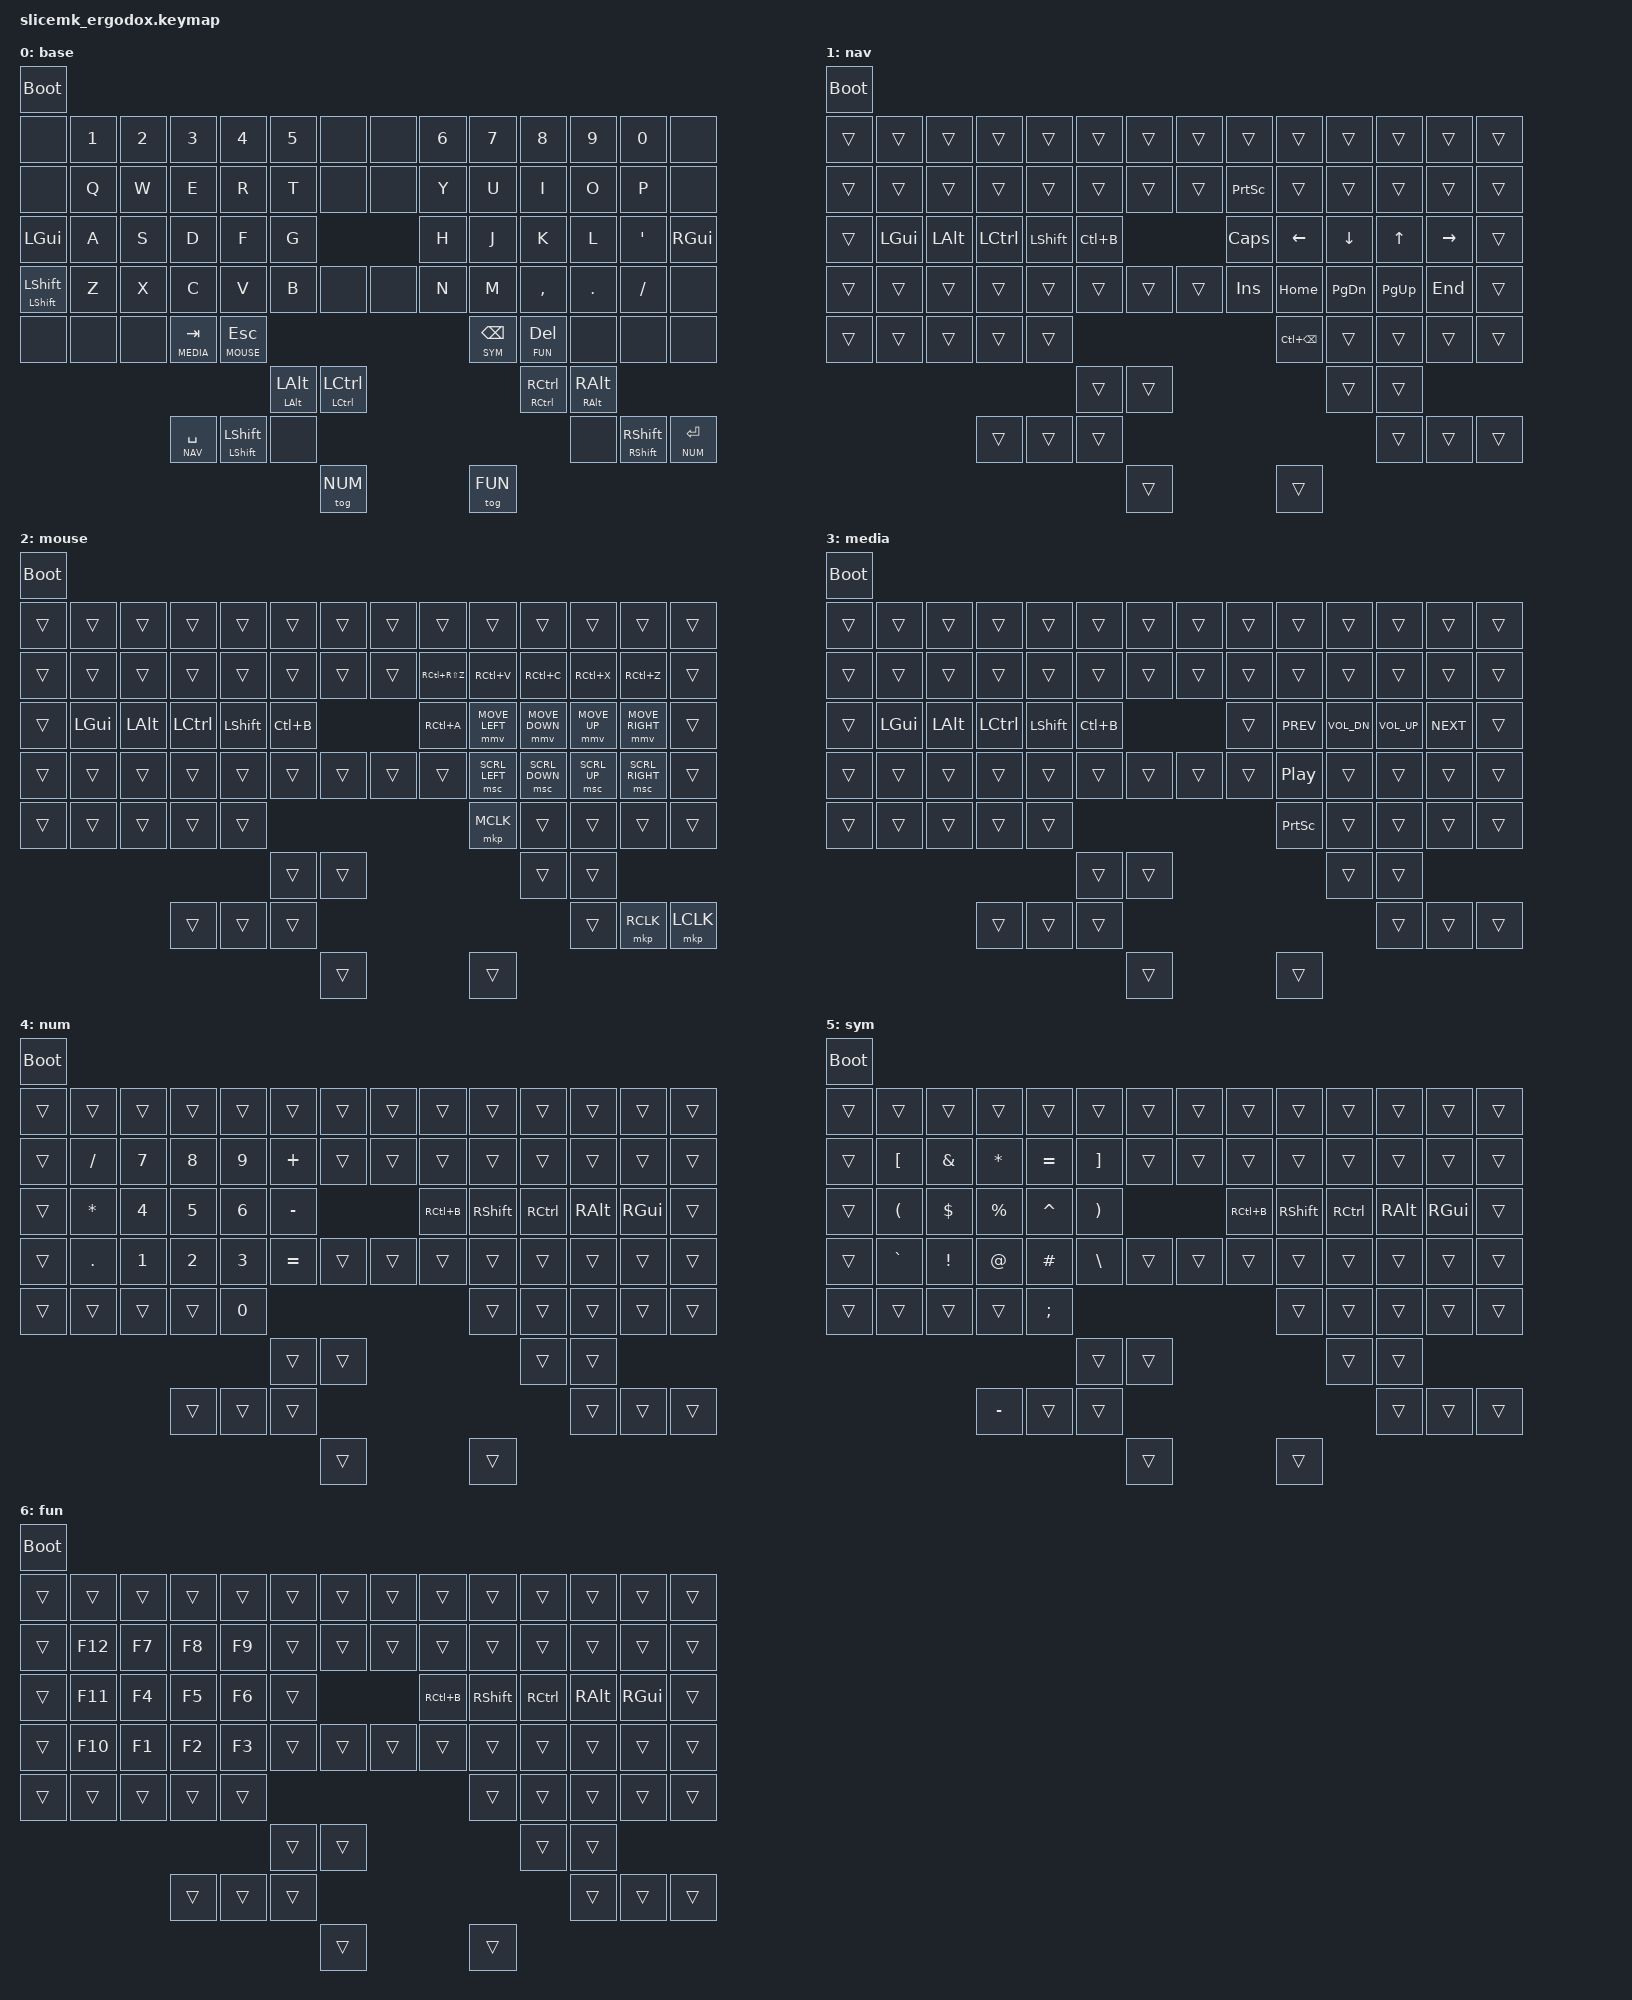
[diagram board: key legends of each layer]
#define ZMK_MOUSE_DEFAULT_MOVE_VAL 1700
#define BASE 0
#define NAV 1
#define MOUSE 2
#define MEDIA 3
#define NUM 4
#define SYM 5
#define FUN 6

#include <behaviors.dtsi>
#include <dt-bindings/zmk/bt.h>
#include <dt-bindings/zmk/keys.h>
#include <dt-bindings/zmk/mouse.h>
#include <dt-bindings/zmk/outputs.h>
#include <dt-bindings/zmk/rgb.h>

/ {
    combos {
        compatible = "zmk,combos";

        // Left Side Combos
        /* combo_left_shift { */
        /*     timeout-ms = <30>; */
        /* key-positions = <32 31>; // D + S */
        /*     bindings = <&kp LSHFT>; */
        /*     layers = <0>; */
        /* };  */
        combo_left_ctrl {
            timeout-ms = <30>;
            key-positions = <33 32>; // F + D
            bindings = <&kp LCTRL>;
            layers = <0>;
        };
        /* combo_left_gui { */
        /*     timeout-ms = <30>; */
        /*     key-positions = <33 31>; // A + F */
        /*     bindings = <&kp LGUI>; */
        /*     layers = <0>; */
        /* }; */
        combo_left_alt {
            timeout-ms = <30>;
            key-positions = <31 32>; // S + D
            bindings = <&kp LALT>;
            layers = <0>;
        }; 
        combo_left_enter {
            timeout-ms = <30>;
            key-positions = <34 33>; // G + F
            bindings = <&kp RETURN>;
            layers = <0>;
        };

        // Right Side Combos
        /* combo_right_shift { */
        /*     timeout-ms = <30>; */
        /*     key-positions = <37 38>; // K + L */
        /*     bindings = <&kp RSHFT>; */
        /*     layers = <0>; */
        /* }; */
        combo_right_ctrl {
            timeout-ms = <30>;
            key-positions = <36 37>; // J + K
            bindings = <&kp RCTRL>;
            layers = <0>;
        };
        /* combo_right_gui { */
        /*     timeout-ms = <30>; */
        /*     key-positions = <36 38>; // J + L */
        /*     bindings = <&kp RGUI>; */
        /*     layers = <0>; */
        /* }; */
        combo_right_alt {
            timeout-ms = <30>;
            key-positions = <37 38>; // K + L
            bindings = <&kp RALT>;
            layers = <0>;
        };
    };

    behaviors {
        fht: fast_hold_tap {
            compatible = "zmk,behavior-hold-tap";
            #binding-cells = <2>;
            tapping-term-ms = <180>;
            quick-tap-ms = <0>;
            flavor = "balanced";
            bindings = <&kp>, <&kp>;
            hold-trigger-on-release;
        };
        /* mht: medium_hold_tap { */
        /*     compatible = "zmk,behavior-hold-tap"; */
        /*     #binding-cells = <2>; */
        /*     tapping-term-ms = <200>; */
        /*     quick-tap-ms = <0>; */
        /*     flavor = "balanced"; */
        /*     bindings = <&kp>, <&kp>; */
        /*     hold-trigger-on-release; */
        /* }; */
        slht: slow_hold_tap {
            compatible = "zmk,behavior-hold-tap";
            #binding-cells = <2>;
            tapping-term-ms = <300>;
            quick-tap-ms = <0>;
            flavor = "balanced";
            bindings = <&kp>, <&kp>;
        };
        sht: sticky_hold_tap {
            compatible = "zmk,behavior-hold-tap";
            #binding-cells = <2>;
            tapping-term-ms = <200>;
            quick-tap-ms = <0>;
            flavor = "tap-preferred";
            bindings = <&kp>, <&sk>;
        };
        lmd: layer_modifier {
            compatible = "zmk,behavior-hold-tap";
            #binding-cells = <2>;
            tapping-term-ms = <180>;
            flavor = "balanced";
            bindings = <&mo>, <&kp>;
        };
        /* shifted: macro_shifted_kp { */
        /*     #binding-cells = <1>; */
        /*     label = "MACRO_SHIFTED_KP"; */
        /*     compatible = "zmk,behavior-macro-one-param"; */
        /*     bindings = */
        /*         <&macro_press &kp LSHFT>, */
        /*         <&macro_param_1to1 &macro_tap &kp MACRO_PLACEHOLDER>, */
        /*         <&macro_release &kp LSHFT>; */
        /* }; */
        /**/
        /* as_ht: autoshift_hold_tap { */
        /*     compatible = "zmk,behavior-hold-tap"; */
        /*     label = "AUTOSHIFT_HOLD_TAP"; */
        /*     #binding-cells = <2>; */
        /*     tapping-term-ms = <150>; */
        /*     flavor = "tap-preferred"; */
        /*     bindings = <&shifted>, <&kp>; */
        /* }; */
        /**/
        /* as: autoshift { */
        /*     compatible = "zmk,behavior-macro-one-param"; */
        /*     #binding-cells = <1>; */
        /*     label = "AUTOSHIFT_KP"; */
        /*     bindings = */
        /*         <&macro_press>, */
        /*         <&macro_param_1to1>, */
        /*         <&macro_param_1to2>, */
        /*         <&as_ht MACRO_PLACEHOLDER MACRO_PLACEHOLDER>, */
        /*         <&macro_pause_for_release>, */
        /*         <&macro_release>, */
        /*         <&macro_param_1to1>, */
        /*         <&macro_param_1to2>, */
        /*         <&as_ht MACRO_PLACEHOLDER MACRO_PLACEHOLDER>; */
        /* }; */
    };

	keymap {
		compatible = "zmk,keymap";
		base {
			bindings = <
				&bootloader
				&none     &kp N1 &kp N2 &kp N3          &kp N4          &kp N5 &none      &none  &kp N6 &kp N7         &kp N8        &kp N9      &kp N0     &none
				&none     &kp Q  &kp W  &kp E           &kp R           &kp T  &none      &none  &kp Y  &kp U          &kp I         &kp O       &kp P      &none
				&kp LGUI  &kp A  &kp S  &kp D           &kp F           &kp G                    &kp H  &kp J          &kp K         &kp L       &kp APOS   &kp RGUI
				&sht LSHFT LSHFT  &kp Z  &kp X  &kp C           &kp V           &kp B  &none      &none  &kp N  &kp M          &kp COMMA     &kp PERIOD  &kp SLASH  &none
				&none     &none  &none  &lmd MEDIA TAB  &lmd MOUSE ESC                                  &lmd SYM BSPC  &lmd FUN DEL  &none       &none      &none
				
                                                                  &sht LALT LALT &sht LCTRL LCTRL              &sht RCTRL RCTRL  &sht RALT RALT
                                                &lmd NAV SPACE  &sht LSHFT LSHFT        &none                         &none             &sht RSHFT RSHFT         &lmd NUM RETURN
                                                                                 &tog NUM                      &tog FUN
			>;
		};

		nav {
			bindings = <
                &bootloader
                &trans  &trans        &trans        &trans            &trans          &trans  &trans       &trans  &trans      &trans       &trans       &trans     &trans      &trans
                &trans  &trans        &trans        &trans            &trans          &trans  &trans       &trans  &kp PSCRN      &trans       &trans       &trans     &trans  &trans
                &trans  &kp LGUI      &kp LALT      &kp LCTRL         &kp LSHFT       &kp LC(B)                    &kp CAPS    &kp LEFT     &kp DOWN     &kp UP     &kp RIGHT   &trans
                &trans  &trans        &trans        &trans            &trans          &trans  &trans       &trans  &kp INSERT  &kp HOME     &kp PG_DN    &kp PG_UP  &kp END     &trans
                &trans  &trans        &trans        &trans            &trans                                                   &kp LC(BSPC)      &trans       &trans     &trans      &trans

                                                        &trans  &trans       &trans  &trans
                                                &trans  &trans  &trans       &trans  &trans  &trans
                                                                &trans       &trans
			>;
		};

		mouse {
			bindings = <
                &bootloader
                &trans  &trans        &trans        &trans            &trans          &trans  &trans       &trans  &trans      &trans          &trans          &trans        &trans           &trans
                &trans  &trans        &trans        &trans            &trans          &trans  &trans       &trans  &kp RC(RS(Z))  &kp RC(V)     &kp RC(C)      &kp RC(X)     &kp RC(Z)       &trans
                &trans  &kp LGUI      &kp LALT      &kp LCTRL         &kp LSHFT       &kp LC(B)                       &kp RC(A)      &mmv MOVE_LEFT  &mmv MOVE_DOWN  &mmv MOVE_UP  &mmv MOVE_RIGHT  &trans
                &trans  &trans        &trans        &trans            &trans          &trans  &trans       &trans  &trans      &msc SCRL_LEFT  &msc SCRL_DOWN  &msc SCRL_UP  &msc SCRL_RIGHT  &trans
                &trans  &trans        &trans        &trans            &trans                                                   &mkp MCLK       &trans          &trans        &trans           &trans

                                                        &trans  &trans       &trans  &trans
                                                &trans  &trans  &trans       &trans  &mkp RCLK  &mkp LCLK
                                                                &trans       &trans
			>;
		};

		media {
			bindings = <
                &bootloader
                &trans  &trans        &trans        &trans            &trans          &trans  &trans       &trans  &trans  &trans      &trans          &trans        &trans      &trans
                &trans  &trans        &trans        &trans            &trans          &trans  &trans       &trans  &trans  &trans      &trans          &trans        &trans      &trans
                &trans  &kp LGUI      &kp LALT      &kp LCTRL         &kp LSHFT       &kp LC(B)                       &trans  &kp C_PREV  &kp C_VOL_DN    &kp C_VOL_UP  &kp C_NEXT  &trans
                &trans  &trans        &trans        &trans            &trans          &trans  &trans       &trans  &trans  &kp C_PP    &trans          &trans        &trans      &trans
                &trans  &trans        &trans        &trans            &trans                                               &kp PSCRN      &trans          &trans        &trans      &trans

                                                        &trans  &trans       &trans  &trans
                                                &trans  &trans  &trans       &trans  &trans  &trans
                                                                &trans       &trans
			>;
		};

		num {
			bindings = <
                &bootloader
                &trans  &trans     &trans  &trans  &trans  &trans    &trans       &trans  &trans  &trans     &trans     &trans    &trans   &trans
                &trans  &kp SLASH  &kp N7  &kp N8  &kp N9  &kp PLUS  &trans       &trans  &trans  &trans     &trans     &trans    &trans   &trans
                &trans  &kp STAR   &kp N4  &kp N5  &kp N6  &kp MINUS                      &kp RC(B)  &kp RSHFT  &kp RCTRL  &kp RALT  &kp RGUI &trans
                &trans  &kp DOT    &kp N1  &kp N2  &kp N3  &kp EQUAL &trans       &trans  &trans  &trans     &trans     &trans    &trans   &trans
                &trans  &trans     &trans  &trans  &kp N0                                         &trans     &trans     &trans    &trans   &trans

                                                           &trans   &trans       &trans  &trans
                                                &trans  &trans  &trans       &trans  &trans  &trans
                                                                    &trans       &trans
			>;
		};

		sym {
			bindings = <
                &bootloader
                &trans  &trans     &trans    &trans     &trans     &trans    &trans       &trans  &trans  &trans     &trans     &trans    &trans   &trans 
                &trans  &kp LBKT   &kp AMPS  &kp STAR   &kp EQUAL  &kp RBKT  &trans       &trans  &trans  &trans     &trans     &trans    &trans   &trans 
                &trans  &kp LPAR   &kp DLLR  &kp PRCNT  &kp CARET  &kp RPAR                       &kp RC(B)  &kp RSHFT  &kp RCTRL  &kp RALT  &kp RGUI &trans 
                &trans  &kp GRAVE  &kp EXCL  &kp AT     &kp HASH   &kp BSLH  &trans       &trans  &trans  &trans     &trans     &trans    &trans   &trans 
                &trans  &trans     &trans    &trans     &kp SEMI                                         &trans     &trans     &trans    &trans   &trans

                                                          &trans    &trans       &trans  &trans
                                                &kp MINUS &trans  &trans       &trans  &trans  &trans
                                                                    &trans    &trans
			>;
		};

		fun {
			bindings = <
                &bootloader
                &trans  &trans  &trans  &trans  &trans  &trans  &trans       &trans  &trans  &trans     &trans     &trans    &trans   &trans  
                &trans  &kp F12  &kp F7  &kp F8  &kp F9 &trans  &trans       &trans  &trans  &trans     &trans     &trans    &trans   &trans  
                &trans  &kp F11  &kp F4  &kp F5  &kp F6 &trans                       &kp RC(B)  &kp RSHFT  &kp RCTRL  &kp RALT  &kp RGUI &trans  
                &trans  &kp F10  &kp F1  &kp F2  &kp F3 &trans  &trans       &trans  &trans  &trans     &trans     &trans    &trans   &trans  
                &trans  &trans   &trans  &trans  &trans                                      &trans     &trans     &trans    &trans   &trans  

                                                        &trans  &trans       &trans  &trans
                                                &trans  &trans  &trans       &trans  &trans  &trans
                                                                &trans       &trans
			>;
		};
	};
};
